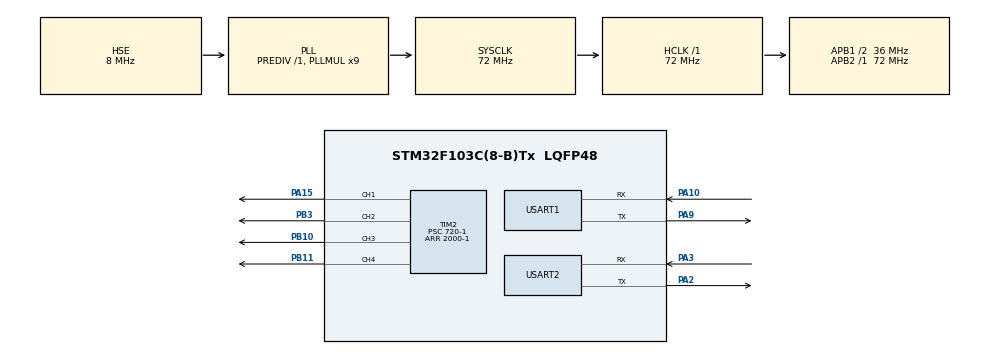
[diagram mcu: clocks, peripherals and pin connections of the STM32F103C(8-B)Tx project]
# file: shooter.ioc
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Dma.Request0=USART1_RX
Dma.Request1=USART1_TX
Dma.Request2=USART2_RX
Dma.USART1_RX.0.Direction=DMA_PERIPH_TO_MEMORY
Dma.USART1_RX.0.Instance=DMA1_Channel5
Dma.USART1_RX.0.MemDataAlignment=DMA_MDATAALIGN_BYTE
Dma.USART1_RX.0.MemInc=DMA_MINC_ENABLE
Dma.USART1_RX.0.Mode=DMA_CIRCULAR
Dma.USART1_RX.0.PeriphDataAlignment=DMA_PDATAALIGN_BYTE
Dma.USART1_RX.0.PeriphInc=DMA_PINC_DISABLE
Dma.USART1_RX.0.Priority=DMA_PRIORITY_HIGH
Dma.USART1_TX.1.Direction=DMA_MEMORY_TO_PERIPH
Dma.USART1_TX.1.Instance=DMA1_Channel4
Dma.USART1_TX.1.MemDataAlignment=DMA_MDATAALIGN_BYTE
Dma.USART1_TX.1.MemInc=DMA_MINC_ENABLE
Dma.USART1_TX.1.Mode=DMA_CIRCULAR
Dma.USART1_TX.1.PeriphDataAlignment=DMA_PDATAALIGN_BYTE
Dma.USART1_TX.1.PeriphInc=DMA_PINC_DISABLE
Dma.USART1_TX.1.Priority=DMA_PRIORITY_MEDIUM
Dma.USART2_RX.2.Direction=DMA_PERIPH_TO_MEMORY
Dma.USART2_RX.2.Instance=DMA1_Channel6
Dma.USART2_RX.2.MemDataAlignment=DMA_MDATAALIGN_BYTE
Dma.USART2_RX.2.MemInc=DMA_MINC_ENABLE
Dma.USART2_RX.2.Mode=DMA_CIRCULAR
Dma.USART2_RX.2.PeriphDataAlignment=DMA_PDATAALIGN_BYTE
Dma.USART2_RX.2.PeriphInc=DMA_PINC_DISABLE
Dma.USART2_RX.2.Priority=DMA_PRIORITY_LOW
Mcu.Family=STM32F1
Mcu.Name=STM32F103C(8-B)Tx
Mcu.Package=LQFP48
NVIC.DMA1_Channel4_IRQn=true\:0\:0\:false\:false\:true\:false\:true\:true
NVIC.DMA1_Channel5_IRQn=true\:0\:0\:false\:false\:true\:false\:true\:true
NVIC.DMA1_Channel6_IRQn=true\:0\:0\:false\:false\:true\:false\:true\:true
NVIC.PriorityGroup=NVIC_PRIORITYGROUP_4
NVIC.USART1_IRQn=true\:0\:0\:false\:false\:true\:true\:true\:true
PA10.Mode=Asynchronous
PA10.Signal=USART1_RX
PA13.Mode=Serial_Wire
PA13.Signal=SYS_JTMS-SWDIO
PA14.Mode=Serial_Wire
PA14.Signal=SYS_JTCK-SWCLK
PA15.Signal=S_TIM2_CH1_ETR
PA2.Mode=Asynchronous
PA2.Signal=USART2_TX
PA3.Mode=Asynchronous
PA3.Signal=USART2_RX
PA9.Mode=Asynchronous
PA9.Signal=USART1_TX
PB10.Signal=S_TIM2_CH3
PB11.Signal=S_TIM2_CH4
PB3.Signal=S_TIM2_CH2
PD0-OSC_IN.Mode=HSE-External-Oscillator
PD0-OSC_IN.Signal=RCC_OSC_IN
PD1-OSC_OUT.Mode=HSE-External-Oscillator
PD1-OSC_OUT.Signal=RCC_OSC_OUT
ProjectManager.HeapSize=0x200
ProjectManager.StackSize=0x400
ProjectManager.TargetToolchain=MDK-ARM V5.32
RCC.AHBFreq_Value=72000000
RCC.APB1CLKDivider=RCC_HCLK_DIV2
RCC.APB1Freq_Value=36000000
RCC.APB1TimFreq_Value=72000000
RCC.APB2Freq_Value=72000000
RCC.APB2TimFreq_Value=72000000
RCC.HCLKFreq_Value=72000000
RCC.PLLMUL=RCC_PLL_MUL9
RCC.PLLSourceVirtual=RCC_PLLSOURCE_HSE
RCC.SYSCLKFreq_VALUE=72000000
RCC.SYSCLKSource=RCC_SYSCLKSOURCE_PLLCLK
RCC.USBFreq_Value=72000000
SH.S_TIM2_CH1_ETR.0=TIM2_CH1,PWM Generation1 CH1
SH.S_TIM2_CH2.0=TIM2_CH2,PWM Generation2 CH2
SH.S_TIM2_CH3.0=TIM2_CH3,PWM Generation3 CH3
SH.S_TIM2_CH4.0=TIM2_CH4,PWM Generation4 CH4
TIM2.Channel-PWM\ Generation1\ CH1=TIM_CHANNEL_1
TIM2.Channel-PWM\ Generation2\ CH2=TIM_CHANNEL_2
TIM2.Channel-PWM\ Generation3\ CH3=TIM_CHANNEL_3
TIM2.Channel-PWM\ Generation4\ CH4=TIM_CHANNEL_4
TIM2.Period=2000-1
TIM2.Prescaler=720-1
USART1.VirtualMode=VM_ASYNC
USART2.VirtualMode=VM_ASYNC
VP_TIM2_VS_ClockSourceINT.Mode=Internal
board=custom

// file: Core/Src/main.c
/* USER CODE BEGIN Header */
/**
  ******************************************************************************
  * @file           : main.c
  * @brief          : Main program body
  ******************************************************************************
  * @attention
  *
  * Copyright (c) 2024 STMicroelectronics.
  * All rights reserved.
  *
  * This software is licensed under terms that can be found in the LICENSE file
  * in the root directory of this software component.
  * If no LICENSE file comes with this software, it is provided AS-IS.
  *
  ******************************************************************************
  */
/* USER CODE END Header */
#include "main.h"
#include "dma.h"
#include "tim.h"
#include "usart.h"
#include "gpio.h"

/* USER CODE BEGIN Includes */
#include "control.h"
#include "dji_shoot.h"
/* USER CODE END Includes */

/* USER CODE BEGIN PD */
	extern controlStruct_t controlData;
	uint8_t en_data_1[1];
	uint8_t en_data_2[1];
/* USER CODE END PD */

/* USER CODE BEGIN PV */
	int cmd_id = 0;
/* USER CODE END PV */

void SystemClock_Config(void);

int main(void)
{

  /* MCU Configuration--------------------------------------------------------*/

  /* Reset of all peripherals, Initializes the Flash interface and the Systick. */
  HAL_Init();

  /* Configure the system clock */
  SystemClock_Config();

  /* Initialize all configured peripherals */
  MX_GPIO_Init();
  MX_DMA_Init();
  MX_USART1_UART_Init();
  MX_TIM2_Init();
  MX_USART2_UART_Init();
  /* USER CODE BEGIN 2 */
/////////////foc initalize//////////////////
	congtrolGlobalInit();
	controlData.control_mode = MODE_CURRENT_RAMP;

/////////////////serial port initalize///////////
	HAL_UART_Receive_DMA(&huart1,en_data_1,sizeof(en_data_1));
	HAL_UART_Receive_DMA(&huart1,en_data_2,sizeof(en_data_2));

////////////////motor initalize/////////////////
	HAL_TIM_PWM_Start(&htim2,TIM_CHANNEL_1);
	HAL_TIM_PWM_Start(&htim2,TIM_CHANNEL_2);
	HAL_TIM_PWM_Start(&htim2,TIM_CHANNEL_3);
	HAL_TIM_PWM_Start(&htim2,TIM_CHANNEL_4);
	__HAL_TIM_SetCompare(&htim2,TIM_CHANNEL_1, 150);
	__HAL_TIM_SetCompare(&htim2,TIM_CHANNEL_2, 150);
	__HAL_TIM_SetCompare(&htim2,TIM_CHANNEL_3, 150);
	__HAL_TIM_SetCompare(&htim2,TIM_CHANNEL_4, 150);
	HAL_TIM_PWM_Start(&htim2,TIM_CHANNEL_1);
	HAL_TIM_PWM_Start(&htim2,TIM_CHANNEL_2);
	HAL_TIM_PWM_Start(&htim2,TIM_CHANNEL_3);
	HAL_TIM_PWM_Start(&htim2,TIM_CHANNEL_4);

  /* USER CODE END 2 */

  /* Infinite loop */
  while (1)
  {
	if (cmd_id == 1)
	{
		shooter_recycle();
	cmd_id = 0;}
	if (cmd_id == 2)
	{
		shooter_launch();
	cmd_id = 0;	}
  }
}

void SystemClock_Config(void)
{
  RCC_OscInitTypeDef RCC_OscInitStruct = {0};
  RCC_ClkInitTypeDef RCC_ClkInitStruct = {0};

  /** Initializes the RCC Oscillators according to the specified parameters
  * in the RCC_OscInitTypeDef structure.
  */
  RCC_OscInitStruct.OscillatorType = RCC_OSCILLATORTYPE_HSE;
  RCC_OscInitStruct.HSEState = RCC_HSE_ON;
  RCC_OscInitStruct.HSEPredivValue = RCC_HSE_PREDIV_DIV1;
  RCC_OscInitStruct.HSIState = RCC_HSI_ON;
  RCC_OscInitStruct.PLL.PLLState = RCC_PLL_ON;
  RCC_OscInitStruct.PLL.PLLSource = RCC_PLLSOURCE_HSE;
  RCC_OscInitStruct.PLL.PLLMUL = RCC_PLL_MUL9;
  if (HAL_RCC_OscConfig(&RCC_OscInitStruct) != HAL_OK)
  {
    Error_Handler();
  }

  /** Initializes the CPU, AHB and APB buses clocks
  */
  RCC_ClkInitStruct.ClockType = RCC_CLOCKTYPE_HCLK|RCC_CLOCKTYPE_SYSCLK
                              |RCC_CLOCKTYPE_PCLK1|RCC_CLOCKTYPE_PCLK2;
  RCC_ClkInitStruct.SYSCLKSource = RCC_SYSCLKSOURCE_PLLCLK;
  RCC_ClkInitStruct.AHBCLKDivider = RCC_SYSCLK_DIV1;
  RCC_ClkInitStruct.APB1CLKDivider = RCC_HCLK_DIV2;
  RCC_ClkInitStruct.APB2CLKDivider = RCC_HCLK_DIV1;

  if (HAL_RCC_ClockConfig(&RCC_ClkInitStruct, FLASH_LATENCY_2) != HAL_OK)
  {
    Error_Handler();
  }
}

void Error_Handler(void)
{
  __disable_irq();
  while (1)
  {
  }
}
